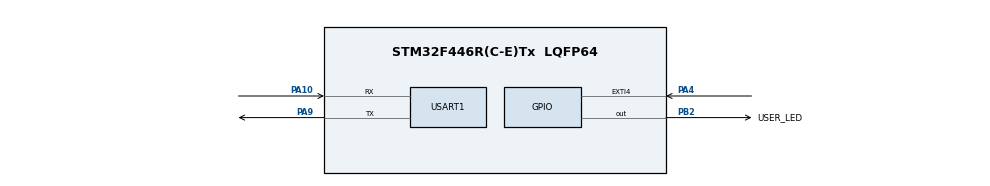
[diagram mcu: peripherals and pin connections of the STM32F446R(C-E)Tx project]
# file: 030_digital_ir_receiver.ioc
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Mcu.Family=STM32F4
Mcu.Name=STM32F446R(C-E)Tx
Mcu.Package=LQFP64
NVIC.EXTI4_IRQn=true\:2\:0\:true\:false\:true\:true\:true\:true
NVIC.PriorityGroup=NVIC_PRIORITYGROUP_4
NVIC.TIM2_IRQn=true\:1\:0\:true\:false\:true\:true\:true\:true
NVIC.USART1_IRQn=true\:0\:0\:false\:false\:true\:true\:true\:true
PA10.Mode=Asynchronous
PA10.Signal=USART1_RX
PA4.GPIO_ModeDefaultEXTI=GPIO_MODE_IT_RISING_FALLING
PA4.GPIO_PuPd=GPIO_PULLUP
PA4.Signal=GPXTI4
PA9.Mode=Asynchronous
PA9.Signal=USART1_TX
PB2.GPIO_Label=USER_LED
PB2.Signal=GPIO_Output
ProjectManager.HeapSize=0x200
ProjectManager.StackSize=0x400
ProjectManager.TargetToolchain=STM32CubeIDE
RCC.CortexFreq_Value=16000000
RCC.USBFreq_Value=96000000
RCC.VCOOutputFreq_Value=192000000
TIM2.Prescaler=15
USART1.VirtualMode=VM_ASYNC
VP_TIM2_VS_ClockSourceINT.Mode=Internal
board=custom

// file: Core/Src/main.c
/* USER CODE BEGIN Header */
/**
  ******************************************************************************
  * @file           : main.c
  * @brief          : Main program body
  ******************************************************************************
  * @attention
  *
  * Copyright (c) 2025 STMicroelectronics.
  * All rights reserved.
  *
  * This software is licensed under terms that can be found in the LICENSE file
  * in the root directory of this software component.
  * If no LICENSE file comes with this software, it is provided AS-IS.
  *
  ******************************************************************************
  */
/* USER CODE END Header */
#include "main.h"

/* USER CODE BEGIN Includes */
#include "ringbuffer.h"
#include "ir_remote.h"
#include "ir_remote_interface.h"
#include <stdio.h>
#include <string.h>

/* USER CODE END Includes */

/* USER CODE BEGIN PD */
#define WELCOME_MSG "Welcome to the Nucleo management console\r\n"
#define IR_READY_MSG "IR Remote Receiver Ready\r\n"

/* USER CODE END PD */

/* USER CODE BEGIN PM */
char readBuf[1];
uint8_t txData;
__IO ITStatus UartReady = SET;
__IO ITStatus UartTxComplete = SET;
RingBuffer txBuf, rxBuf;

ir_remote_handle_t ir_handle;
/* USER CODE END PM */

TIM_HandleTypeDef htim2;

UART_HandleTypeDef huart1;

void SystemClock_Config(void);
static void MX_GPIO_Init(void);
static void MX_USART1_UART_Init(void);
static void MX_TIM2_Init(void);
/* USER CODE BEGIN PFP */
int _write(int file, char *ptr, int len)
{
  if (UART_Transmit(&huart1, (uint8_t *)ptr, len))
  {
    // Wait for transmission to complete to ensure log integrity
    while (UartTxComplete == RESET || RingBuffer_GetDataLength(&txBuf) > 0)
    {
      // Allow other interrupts to process
      __NOP();
    }
    return len;
  }
  return 0; // Return 0 on failure
}
/* USER CODE END PFP */

int main(void)
{

  /* MCU Configuration--------------------------------------------------------*/

  /* Reset of all peripherals, Initializes the Flash interface and the Systick. */
  HAL_Init();

  /* Configure the system clock */
  SystemClock_Config();

  /* Initialize all configured peripherals */
  MX_GPIO_Init();
  MX_USART1_UART_Init();
  MX_TIM2_Init();
  /* USER CODE BEGIN 2 */
  RingBuffer_Init(&txBuf);
  RingBuffer_Init(&rxBuf);

//  CoreDebug->DEMCR |= CoreDebug_DEMCR_TRCENA_Msk;
//  DWT->CYCCNT = 0;
//  DWT->CTRL |= DWT_CTRL_CYCCNTENA_Msk;

  printf(WELCOME_MSG);

  // init IR remote
  DRIVER_IR_REMOTE_LINK_INIT(&ir_handle, ir_remote_handle_t);
  DRIVER_IR_REMOTE_LINK_TIMESTAMP_READ(&ir_handle, ir_remote_interface_timestamp_read);
  DRIVER_IR_REMOTE_LINK_DELAY_MS(&ir_handle, ir_remote_interface_delay_ms);
  DRIVER_IR_REMOTE_LINK_DEBUG_PRINT(&ir_handle, ir_remote_interface_debug_print);
  DRIVER_IR_REMOTE_LINK_RECEIVE_CALLBACK(&ir_handle, ir_remote_interface_receive_callback);

  if (ir_remote_init(&ir_handle) != 0)
  {
	  printf("IR Remote initialization failed!\r\n");
  }
  else
  {
	  printf(IR_READY_MSG);
	  printf("Point your IR remote at the receiver and press buttons...\r\n");
  }

  printf("Setup complete. Waiting for IR signals...\r\n");

  /* USER CODE END 2 */

  /* Infinite loop */
  while (1)
  {

  }
}

void SystemClock_Config(void)
{
  RCC_OscInitTypeDef RCC_OscInitStruct = {0};
  RCC_ClkInitTypeDef RCC_ClkInitStruct = {0};

  /** Configure the main internal regulator output voltage
  */
  __HAL_RCC_PWR_CLK_ENABLE();
  __HAL_PWR_VOLTAGESCALING_CONFIG(PWR_REGULATOR_VOLTAGE_SCALE3);

  /** Initializes the RCC Oscillators according to the specified parameters
  * in the RCC_OscInitTypeDef structure.
  */
  RCC_OscInitStruct.OscillatorType = RCC_OSCILLATORTYPE_HSI;
  RCC_OscInitStruct.HSIState = RCC_HSI_ON;
  RCC_OscInitStruct.HSICalibrationValue = RCC_HSICALIBRATION_DEFAULT;
  RCC_OscInitStruct.PLL.PLLState = RCC_PLL_NONE;
  if (HAL_RCC_OscConfig(&RCC_OscInitStruct) != HAL_OK)
  {
    Error_Handler();
  }

  /** Initializes the CPU, AHB and APB buses clocks
  */
  RCC_ClkInitStruct.ClockType = RCC_CLOCKTYPE_HCLK|RCC_CLOCKTYPE_SYSCLK
                              |RCC_CLOCKTYPE_PCLK1|RCC_CLOCKTYPE_PCLK2;
  RCC_ClkInitStruct.SYSCLKSource = RCC_SYSCLKSOURCE_HSI;
  RCC_ClkInitStruct.AHBCLKDivider = RCC_SYSCLK_DIV1;
  RCC_ClkInitStruct.APB1CLKDivider = RCC_HCLK_DIV1;
  RCC_ClkInitStruct.APB2CLKDivider = RCC_HCLK_DIV1;

  if (HAL_RCC_ClockConfig(&RCC_ClkInitStruct, FLASH_LATENCY_0) != HAL_OK)
  {
    Error_Handler();
  }
}

static void MX_TIM2_Init(void)
{

  TIM_ClockConfigTypeDef sClockSourceConfig = {0};
  TIM_MasterConfigTypeDef sMasterConfig = {0};

  htim2.Instance = TIM2;
  htim2.Init.Prescaler = 15;
  htim2.Init.CounterMode = TIM_COUNTERMODE_UP;
  htim2.Init.Period = 4294967295;
  htim2.Init.ClockDivision = TIM_CLOCKDIVISION_DIV1;
  htim2.Init.AutoReloadPreload = TIM_AUTORELOAD_PRELOAD_DISABLE;
  if (HAL_TIM_Base_Init(&htim2) != HAL_OK)
  {
    Error_Handler();
  }
  sClockSourceConfig.ClockSource = TIM_CLOCKSOURCE_INTERNAL;
  if (HAL_TIM_ConfigClockSource(&htim2, &sClockSourceConfig) != HAL_OK)
  {
    Error_Handler();
  }
  sMasterConfig.MasterOutputTrigger = TIM_TRGO_RESET;
  sMasterConfig.MasterSlaveMode = TIM_MASTERSLAVEMODE_DISABLE;
  if (HAL_TIMEx_MasterConfigSynchronization(&htim2, &sMasterConfig) != HAL_OK)
  {
    Error_Handler();
  }
  /* USER CODE BEGIN TIM2_Init 2 */
  if (HAL_TIM_Base_Start(&htim2) != HAL_OK)
  {
	  Error_Handler();
  }
  /* USER CODE END TIM2_Init 2 */

}

static void MX_USART1_UART_Init(void)
{

  huart1.Instance = USART1;
  huart1.Init.BaudRate = 115200;
  huart1.Init.WordLength = UART_WORDLENGTH_8B;
  huart1.Init.StopBits = UART_STOPBITS_1;
  huart1.Init.Parity = UART_PARITY_NONE;
  huart1.Init.Mode = UART_MODE_TX_RX;
  huart1.Init.HwFlowCtl = UART_HWCONTROL_NONE;
  huart1.Init.OverSampling = UART_OVERSAMPLING_16;
  if (HAL_UART_Init(&huart1) != HAL_OK)
  {
    Error_Handler();
  }

}

static void MX_GPIO_Init(void)
{
  GPIO_InitTypeDef GPIO_InitStruct = {0};

  /* GPIO Ports Clock Enable */
  __HAL_RCC_GPIOA_CLK_ENABLE();
  __HAL_RCC_GPIOB_CLK_ENABLE();

  /*Configure GPIO pin Output Level */
  HAL_GPIO_WritePin(USER_LED_GPIO_Port, USER_LED_Pin, GPIO_PIN_RESET);

  /*Configure GPIO pin : PA4 */
  GPIO_InitStruct.Pin = GPIO_PIN_4;
  GPIO_InitStruct.Mode = GPIO_MODE_IT_RISING_FALLING;
  GPIO_InitStruct.Pull = GPIO_PULLUP;
  HAL_GPIO_Init(GPIOA, &GPIO_InitStruct);

  /*Configure GPIO pin : USER_LED_Pin */
  GPIO_InitStruct.Pin = USER_LED_Pin;
  GPIO_InitStruct.Mode = GPIO_MODE_OUTPUT_PP;
  GPIO_InitStruct.Pull = GPIO_NOPULL;
  GPIO_InitStruct.Speed = GPIO_SPEED_FREQ_LOW;
  HAL_GPIO_Init(USER_LED_GPIO_Port, &GPIO_InitStruct);

  /* EXTI interrupt init*/
  HAL_NVIC_SetPriority(EXTI4_IRQn, 2, 0);
  HAL_NVIC_EnableIRQ(EXTI4_IRQn);

}

/* USER CODE BEGIN 4 */
uint8_t UART_Transmit(UART_HandleTypeDef *huart, uint8_t *pData, uint16_t len)
{
  UartTxComplete = RESET; // Mark transmission as in progress
  if (HAL_UART_Transmit_IT(huart, pData, len) != HAL_OK)
  {
    if (RingBuffer_Write(&txBuf, pData, len) != RING_BUFFER_OK)
      return 0;
  }
  return 1;
}

void HAL_UART_RxCpltCallback(UART_HandleTypeDef *UartHandle)
{
  /* Set transmission flag: transfer complete*/
  UartReady = SET;
}

void HAL_UART_TxCpltCallback(UART_HandleTypeDef *huart)
{
  if (huart == &huart1)
  {
    if (RingBuffer_GetDataLength(&txBuf) > 0)
    {
      RingBuffer_Read(&txBuf, &txData, 1);
      HAL_UART_Transmit_IT(huart, &txData, 1);
    }
    else
    {
      UartTxComplete = SET; // Mark transmission as complete when buffer is empty
    }
  }
}

void HAL_GPIO_EXTI_Callback(uint16_t GPIO_pin)
{
    if (GPIO_pin == GPIO_PIN_4)
    {

        // IR receiver interrupt - call the ir_remote handler
        ir_remote_irq_handler(&ir_handle);

        // Toggle LED to show activity
        HAL_GPIO_TogglePin(USER_LED_GPIO_Port, USER_LED_Pin);
    }
}
/* USER CODE END 4 */

void Error_Handler(void)
{
  __disable_irq();
  while (1)
  {
  }
}
